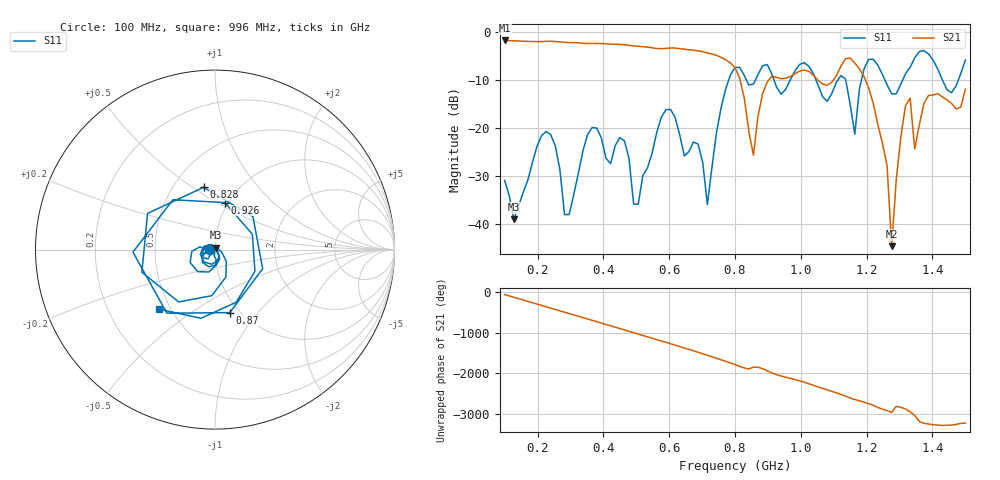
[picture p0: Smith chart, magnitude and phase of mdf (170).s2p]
! NanoVNA-App
! Date: 2025-09-25 15:39:45
! Start: 100MHz Stop: 1,5GHz Points: 101
! S-Parameter data: F S11 S21 S12 S22
# Hz S RI R 50
!  Frequency  S11_Real  S11_Imag  S21_Real  S21_Imag  S12_Real  S12_Imag  S22_Real  S22_Imag
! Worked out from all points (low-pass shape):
!   101 points, 100 MHz to 1.5 GHz, reference 50 ohm
!   highest |S21| = -1.81 dB at 100 MHz (marker M1); lowest = -44.5 dB at 1.276 GHz (marker M2)
!   |S21| within 3 dB of the highest: start of sweep to 739.1 MHz
!   lowest |S11| = -38.9 dB at 128 MHz (marker M3), VSWR 1.02, Z = 50.4 + j1.08 ohm
!   |S11| at or under -10 dB: start of sweep to 781 MHz; 1.046 GHz to 1.113 GHz (66.91 MHz wide, 6.2 % of centre); 1.255 GHz to 1.31 GHz (54.28 MHz wide, 4.23 % of centre) (the widest 3 of 7)
!   S12 and S22 are empty: the file has one direction only
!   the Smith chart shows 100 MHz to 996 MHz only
!   S11 on the Smith chart (normalised r, x): 100 MHz: 0.94, -0.01; 828 MHz: 0.70, +0.56; 870 MHz: 0.90, -0.73; 926 MHz: 0.97, +0.55; 996 MHz: 0.43, -0.36
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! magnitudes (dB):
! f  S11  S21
! 100 MHz  -30.8  -1.8
! 128 MHz  -38.9  -1.9
! 212 MHz  -21.6  -2.0
! 282 MHz  -38.0  -2.2
! 338 MHz  -24.7  -2.4
! 464 MHz  -22.7  -2.7
! 506 MHz  -35.8  -3.0
! 576 MHz  -17.8  -3.5
! 716 MHz  -35.9  -4.4
! 800 MHz  -7.4  -7.5
! 828 MHz  -9.0  -13.7
! 870 MHz  -8.9  -17.5
! 926 MHz  -11.4  -9.5
! 996 MHz  -6.8  -8.2
! 1.038 GHz  -8.7  -9.0
! 1.164 GHz  -21.3  -6.5
! 1.192 GHz  -7.7  -9.3
! 1.262 GHz  -11.0  -27.8
! 1.276 GHz  -12.9  -44.5
! 1.318 GHz  -8.7  -15.4
! 1.346 GHz  -5.4  -24.3
! 1.5 GHz  -5.9  -11.9
